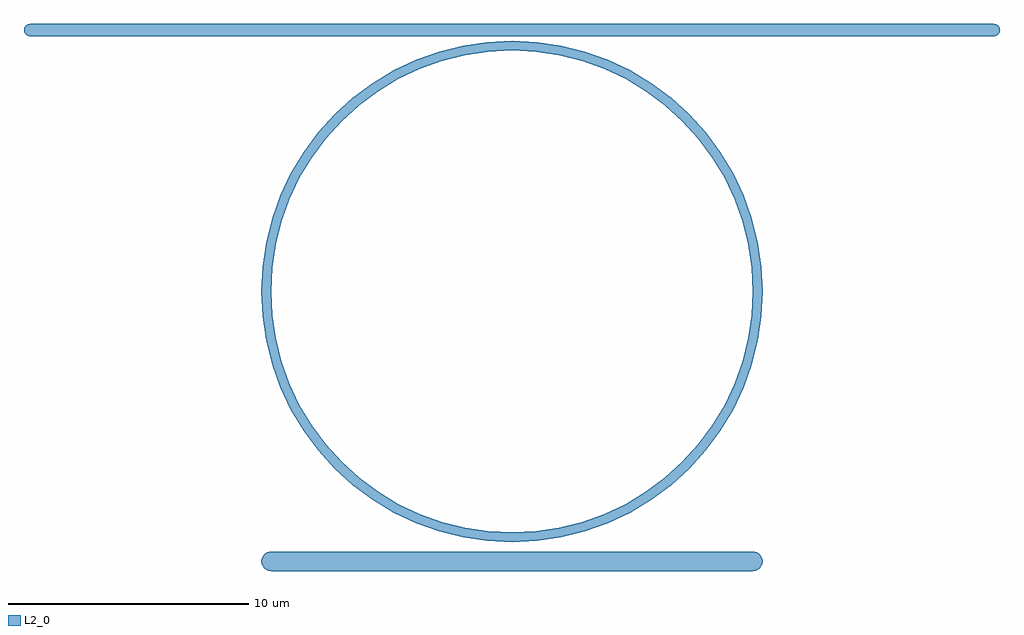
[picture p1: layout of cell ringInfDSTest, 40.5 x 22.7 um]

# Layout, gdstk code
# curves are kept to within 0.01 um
import gdstk
lib = gdstk.Library(unit=1e-6, precision=1e-09)
def R(c, l, rs):  # rectangles x0, y0, x1, y1
    for r in rs: c.add(gdstk.rectangle(r[:2], r[2:], *l))
def P(c, l, *ps):  # polygons
    for p in ps: c.add(gdstk.Polygon(p, *l))
L2_0 = (2, 0)

ringinfdstest = lib.new_cell('ringInfDSTest')
R(ringinfdstest, L2_0, [(-10,-11.6,10,-10.8), (-20,10.6,20,11.1)])
P(ringinfdstest, L2_0, [(0,-10.4),(-1.019,-10.35),(-2.029,-10.2),(-3.019,-9.952),(-3.98,-9.608),(-4.903,-9.172),(-5.778,-8.647),(-6.598,-8.039),(-7.354,-7.354),(-8.039,-6.598),(-8.647,-5.778),(-9.172,-4.903),(-9.608,-3.98),(-9.952,-3.019),(-10.2,-2.029),(-10.35,-1.019),(-10.4,0),(-10.35,1.019),(-10.2,2.029),(-9.952,3.019),(-9.608,3.98),(-9.172,4.903),(-8.647,5.778),(-8.039,6.598),(-7.354,7.354),(-6.598,8.039),(-5.778,8.647),(-4.903,9.172),(-3.98,9.608),(-3.019,9.952),(-2.029,10.2),(-1.019,10.35),(0,10.4),(1.019,10.35),(2.029,10.2),(3.019,9.952),(3.98,9.608),(4.903,9.172),(5.778,8.647),(6.598,8.039),(7.354,7.354),(8.039,6.598),(8.647,5.778),(9.172,4.903),(9.608,3.98),(9.952,3.019),(10.2,2.029),(10.35,1.019),(10.4,0),(10,0),(9.952,0.98),(9.808,1.951),(9.569,2.903),(9.239,3.827),(8.819,4.714),(8.315,5.556),(7.73,6.344),(7.071,7.071),(6.344,7.73),(5.556,8.315),(4.714,8.819),(3.827,9.239),(2.903,9.569),(1.951,9.808),(0.98,9.952),(0,10),(-0.98,9.952),(-1.951,9.808),(-2.903,9.569),(-3.827,9.239),(-4.714,8.819),(-5.556,8.315),(-6.344,7.73),(-7.071,7.071),(-7.73,6.344),(-8.315,5.556),(-8.819,4.714),(-9.239,3.827),(-9.569,2.903),(-9.808,1.951),(-9.952,0.98),(-10,0),(-9.952,-0.98),(-9.808,-1.951),(-9.569,-2.903),(-9.239,-3.827),(-8.819,-4.714),(-8.315,-5.556),(-7.73,-6.344),(-7.071,-7.071),(-6.344,-7.73),(-5.556,-8.315),(-4.714,-8.819),(-3.827,-9.239),(-2.903,-9.569),(-1.951,-9.808),(-0.98,-9.952),(0,-10),(0.98,-9.952),(1.951,-9.808),(2.903,-9.569),(3.827,-9.239),(4.714,-8.819),(5.556,-8.315),(6.344,-7.73),(7.071,-7.071),(7.73,-6.344),(8.315,-5.556),(8.819,-4.714),(9.239,-3.827),(9.569,-2.903),(9.808,-1.951),(9.952,-0.98),(10,0),(10.4,0),(10.35,-1.019),(10.2,-2.029),(9.952,-3.019),(9.608,-3.98),(9.172,-4.903),(8.647,-5.778),(8.039,-6.598),(7.354,-7.354),(6.598,-8.039),(5.778,-8.647),(4.903,-9.172),(3.98,-9.608),(3.019,-9.952),(2.029,-10.2),(1.019,-10.35)],
  [(20,10.6),(20,11.1),(20.097,11.08),(20.177,11.027),(20.23,10.947),(20.25,10.85),(20.23,10.753),(20.177,10.673),(20.097,10.62)],
  [(-20,10.6),(-20.097,10.62),(-20.177,10.673),(-20.23,10.753),(-20.25,10.85),(-20.23,10.947),(-20.177,11.027),(-20.097,11.08),(-20,11.1)],
  [(10,-11.6),(10,-10.8),(10.156,-10.831),(10.283,-10.917),(10.369,-11.044),(10.4,-11.2),(10.369,-11.356),(10.283,-11.483),(10.156,-11.569)],
  [(-10,-11.6),(-10.156,-11.569),(-10.283,-11.483),(-10.369,-11.356),(-10.4,-11.2),(-10.369,-11.044),(-10.283,-10.917),(-10.156,-10.831),(-10,-10.8)])

lib.write_gds('ringInfDSTest.gds')
